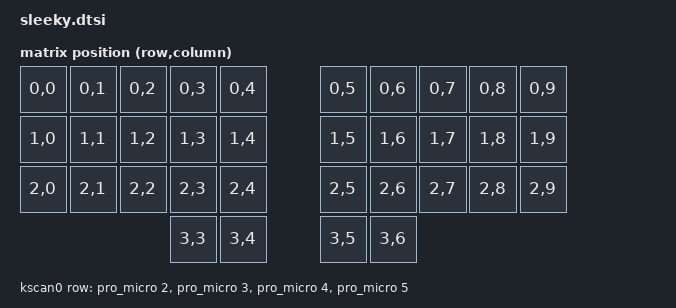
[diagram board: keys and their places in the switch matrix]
/*
 * Copyright (c) 2024 The ZMK Contributors
 *
 * SPDX-License-Identifier: MIT
 */

#include <dt-bindings/zmk/matrix_transform.h>

/ {
    chosen {
        zmk,kscan = &kscan0;
        zmk,matrix-transform = &default_transform;
    };

    default_transform: keymap_transform_0 {
        compatible = "zmk,matrix-transform";
        columns = <10>;
        rows = <4>;
        // | MX1  | MX2  | MX3  | MX4  | MX5  |   | MX6  | MX7  | MX8  | MX9  | MX10 |
        // | MX11 | MX12 | MX13 | MX14 | MX15 |   | MX16 | MX17 | MX18 | MX19 | MX20 |
        // | MX21 | MX22 | MX23 | MX24 | MX25 |   | MX26 | MX27 | MX28 | MX29 | MX30 |
        //                      | MX31 | MX32 |   | MX33 | MX34 |
        map = <
        RC(0,0) RC(0,1) RC(0,2) RC(0,3) RC(0,4)    RC(0,5) RC(0,6) RC(0,7) RC(0,8) RC(0,9)
        RC(1,0) RC(1,1) RC(1,2) RC(1,3) RC(1,4)    RC(1,5) RC(1,6) RC(1,7) RC(1,8) RC(1,9)
        RC(2,0) RC(2,1) RC(2,2) RC(2,3) RC(2,4)    RC(2,5) RC(2,6) RC(2,7) RC(2,8) RC(2,9)
                                RC(3,3) RC(3,4)    RC(3,5) RC(3,6)
        >;
    };

    kscan0: kscan {
        compatible = "zmk,kscan-gpio-matrix";
        wakeup-source;
        diode-direction = "col2row";

        // Row configuration (same for both halves)
        row-gpios
            = <&pro_micro 2 (GPIO_ACTIVE_HIGH | GPIO_PULL_DOWN)>  // Row 0
            , <&pro_micro 3 (GPIO_ACTIVE_HIGH | GPIO_PULL_DOWN)>  // Row 1
            , <&pro_micro 4 (GPIO_ACTIVE_HIGH | GPIO_PULL_DOWN)>  // Row 2
            , <&pro_micro 5 (GPIO_ACTIVE_HIGH | GPIO_PULL_DOWN)>  // Row 3
            ;
    };
};
